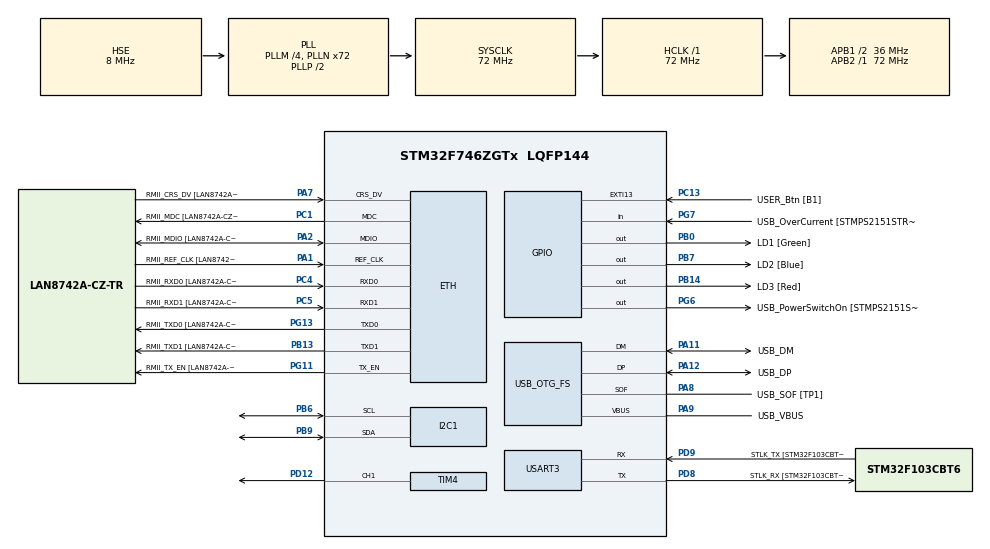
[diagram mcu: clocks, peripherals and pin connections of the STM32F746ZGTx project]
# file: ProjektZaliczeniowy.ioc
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ARM.CMSIS.5.7.0.CMSISJjCORE=true
ARM.CMSIS.5.7.0.CMSISJjDSP=Library
ETH.MediaInterface=HAL_ETH_RMII_MODE
ETH.PHY_Name=LAN8742A_PHY_ADDRESS
ETH.PHY_Value=0
ETH.PhyAddress=0
I2C1.Timing=0x00808CD2
Mcu.Family=STM32F7
Mcu.Name=STM32F746ZGTx
Mcu.Package=LQFP144
NVIC.EXTI15_10_IRQn=true\:0\:0\:false\:false\:true\:true\:true\:true
NVIC.I2C1_EV_IRQn=true\:0\:0\:false\:false\:true\:true\:true\:true
NVIC.PriorityGroup=NVIC_PRIORITYGROUP_4
NVIC.TIM3_IRQn=true\:0\:0\:false\:false\:true\:true\:true\:true
NVIC.TIM4_IRQn=true\:0\:0\:false\:false\:true\:true\:true\:true
NVIC.USART3_IRQn=true\:0\:0\:false\:false\:true\:true\:true\:true
PA1.GPIO_Label=RMII_REF_CLK [LAN8742A-CZ-TR_REFCLK0]
PA1.Mode=RMII
PA1.Signal=ETH_REF_CLK
PA10.GPIO_Label=USB_ID
PA10.Signal=USB_OTG_FS_ID
PA11.GPIO_Label=USB_DM
PA11.Mode=Device_Only
PA11.Signal=USB_OTG_FS_DM
PA12.GPIO_Label=USB_DP
PA12.Mode=Device_Only
PA12.Signal=USB_OTG_FS_DP
PA13.GPIO_Label=TMS
PA13.Mode=Serial_Wire
PA13.Signal=SYS_JTMS-SWDIO
PA14.GPIO_Label=TCK
PA14.Mode=Serial_Wire
PA14.Signal=SYS_JTCK-SWCLK
PA2.GPIO_Label=RMII_MDIO [LAN8742A-CZ-TR_MDIO]
PA2.Mode=RMII
PA2.Signal=ETH_MDIO
PA7.GPIO_Label=RMII_CRS_DV [LAN8742A-CZ-TR_CRS_DV]
PA7.Mode=RMII
PA7.Signal=ETH_CRS_DV
PA8.GPIO_Label=USB_SOF [TP1]
PA8.Mode=Activate_SOF_FS
PA8.Signal=USB_OTG_FS_SOF
PA9.GPIO_Label=USB_VBUS
PA9.Mode=Activate_VBUS
PA9.Signal=USB_OTG_FS_VBUS
PB0.GPIO_Label=LD1 [Green]
PB0.Signal=GPIO_Output
PB13.GPIO_Label=RMII_TXD1 [LAN8742A-CZ-TR_TXD1]
PB13.Mode=RMII
PB13.Signal=ETH_TXD1
PB14.GPIO_Label=LD3 [Red]
PB14.Signal=GPIO_Output
PB3.GPIO_Label=SW0
PB3.Signal=SYS_JTDO-SWO
PB6.Mode=I2C
PB6.Signal=I2C1_SCL
PB7.GPIO_Label=LD2 [Blue]
PB7.Signal=GPIO_Output
PB9.Mode=I2C
PB9.Signal=I2C1_SDA
PC1.GPIO_Label=RMII_MDC [LAN8742A-CZ-TR_MDC]
PC1.Mode=RMII
PC1.Signal=ETH_MDC
PC13.GPIO_Label=USER_Btn [B1]
PC13.Signal=GPXTI13
PC14/OSC32_IN.Mode=LSE-External-Oscillator
PC14/OSC32_IN.Signal=RCC_OSC32_IN
PC15/OSC32_OUT.Mode=LSE-External-Oscillator
PC15/OSC32_OUT.Signal=RCC_OSC32_OUT
PC4.GPIO_Label=RMII_RXD0 [LAN8742A-CZ-TR_RXD0]
PC4.Mode=RMII
PC4.Signal=ETH_RXD0
PC5.GPIO_Label=RMII_RXD1 [LAN8742A-CZ-TR_RXD1]
PC5.Mode=RMII
PC5.Signal=ETH_RXD1
PD12.Signal=S_TIM4_CH1
PD8.GPIO_Label=STLK_RX [STM32F103CBT6_PA3]
PD8.Mode=Asynchronous
PD8.Signal=USART3_TX
PD9.GPIO_Label=STLK_TX [STM32F103CBT6_PA2]
PD9.Mode=Asynchronous
PD9.Signal=USART3_RX
PG11.GPIO_Label=RMII_TX_EN [LAN8742A-CZ-TR_TXEN]
PG11.Mode=RMII
PG11.Signal=ETH_TX_EN
PG13.GPIO_Label=RMII_TXD0 [LAN8742A-CZ-TR_TXD0]
PG13.Mode=RMII
PG13.Signal=ETH_TXD0
PG6.GPIO_Label=USB_PowerSwitchOn [STMPS2151STR_EN]
PG6.Signal=GPIO_Output
PG7.GPIO_Label=USB_OverCurrent [STMPS2151STR_FAULT]
PG7.Signal=GPIO_Input
PH0/OSC_IN.GPIO_Label=MCO [STM32F103CBT6_PA8]
PH0/OSC_IN.Mode=HSE-External-Clock-Source
PH0/OSC_IN.Signal=RCC_OSC_IN
PH1/OSC_OUT.Mode=HSE-External-Clock-Source
PH1/OSC_OUT.Signal=RCC_OSC_OUT
ProjectManager.HeapSize=0x200
ProjectManager.StackSize=0x400
ProjectManager.TargetToolchain=STM32CubeIDE
RCC.48MHZClocksFreq_Value=24000000
RCC.AHBFreq_Value=72000000
RCC.APB1CLKDivider=RCC_HCLK_DIV2
RCC.APB1Freq_Value=36000000
RCC.APB1TimFreq_Value=72000000
RCC.APB2Freq_Value=72000000
RCC.APB2TimFreq_Value=72000000
RCC.CortexFreq_Value=72000000
RCC.HCLKFreq_Value=72000000
RCC.HSE_VALUE=8000000
RCC.HSI_VALUE=16000000
RCC.PLLM=4
RCC.PLLMUL=RCC_PLL_MUL9
RCC.PLLN=72
RCC.PLLQ=3
RCC.PRESCALERUSB=RCC_USBCLKSOURCE_PLL_DIV1_5
RCC.SYSCLKFreq_VALUE=72000000
RCC.SYSCLKSource=RCC_SYSCLKSOURCE_PLLCLK
RCC.SYSCLKSourceVirtual=RCC_SYSCLKSOURCE_PLLCLK
RCC.USBFreq_Value=48000000
RCC.VCOOutputFreq_Value=144000000
SH.S_TIM4_CH1.0=TIM4_CH1,PWM Generation1 CH1
TIM3.Period=24999
TIM3.Prescaler=71
TIM4.Channel-PWM\ Generation1\ CH1=TIM_CHANNEL_1
TIM4.Period=999
TIM4.Prescaler=71
TIM4.Pulse-PWM\ Generation1\ CH1=999
USART3.VirtualMode-Asynchronous=VM_ASYNC
USB_OTG_FS.VirtualMode=Device_Only
VP_ARM.CMSIS_VS_CMSISJjCORE_5.4.0_5.7.0.Mode=CMSISJjCORE
VP_ARM.CMSIS_VS_CMSISJjDSP_1.8.0_5.7.0.Mode=CMSISJjDSP
VP_TIM3_VS_ClockSourceINT.Mode=Internal
VP_TIM4_VS_ClockSourceINT.Mode=Internal
board=NUCLEO-F746ZG

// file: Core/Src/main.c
/* USER CODE BEGIN Header */
/**
  ******************************************************************************
  * @file           : main.c
  * @brief          : Main program body
  ******************************************************************************
  * @attention
  *
  * Copyright (c) 2023 STMicroelectronics.
  * All rights reserved.
  *
  * This software is licensed under terms that can be found in the LICENSE file
  * in the root directory of this software component.
  * If no LICENSE file comes with this software, it is provided AS-IS.
  *
  ******************************************************************************
  */
/* USER CODE END Header */
#include "main.h"
#include "eth.h"
#include "i2c.h"
#include "tim.h"
#include "usart.h"
#include "usb_otg.h"
#include "gpio.h"

/* USER CODE BEGIN Includes */
#include <stdio.h>
#include "bh_1750_config.h"
#include "arm_math.h"
/* USER CODE END Includes */

/* USER CODE BEGIN PV */
char msg[50];
char Rx_Data[4];
/* USER CODE END PV */

void SystemClock_Config(void);

/* USER CODE BEGIN 0 */
float light=0;//y
float error=0;//e
float reference = 200;//yr
float duty=0;//u
arm_pid_instance_f32 PID;//pid
void HAL_TIM_PeriodElapsedCallback(TIM_HandleTypeDef *htim)
{
	  if(htim == &htim3) //Timer probkowania
	  {
		    light = BH1750_ReadIlluminance_lux(&hbh1750_1);//odczyt natezenia swiatla

		    error = reference - light;//oblizcenie uchybu

		  	duty = arm_pid_f32(&PID, error);//obliczenie sygnalu z regulatora
		  	//nasycenie
			if(duty>1000)
				duty=1000;
			if(duty<0)
				duty=0;
			__HAL_TIM_SET_COMPARE(&htim4,TIM_CHANNEL_1,duty);//ustawienie wypelnienia sygnalu PWM
	  }
}
void HAL_UART_RxCpltCallback (UART_HandleTypeDef * huart){
	if (huart == &huart3)
	  {
		reference=atol(Rx_Data);
	  }
	HAL_UART_Receive_IT(&huart3, Rx_Data ,4);
	}
/* USER CODE END 0 */

int main(void)
{

  /* MCU Configuration--------------------------------------------------------*/

  /* Reset of all peripherals, Initializes the Flash interface and the Systick. */
  HAL_Init();

  /* Configure the system clock */
  SystemClock_Config();

  /* Initialize all configured peripherals */
  MX_GPIO_Init();
  MX_ETH_Init();
  MX_USART3_UART_Init();
  MX_USB_OTG_FS_PCD_Init();
  MX_I2C1_Init();
  MX_TIM3_Init();
  MX_TIM4_Init();
  /* USER CODE BEGIN 2 */
  BH1750_Init(&hbh1750_1);//czujnik swiatla
  //inicjacja PID
  PID.Kp=5;
  PID.Ki=5;
  PID.Kd=5;
  arm_pid_init_f32(&PID, 1);//1-reset state, 0-no change in state

  HAL_TIM_Base_Start_IT(&htim3);//probkowanie
  HAL_TIM_Base_Start_IT(&htim4);//pwm
  HAL_TIM_PWM_Start(&htim4, TIM_CHANNEL_1);

  HAL_UART_Receive_IT(&huart3, Rx_Data ,4);
  /* USER CODE END 2 */

  /* Infinite loop */
  while (1)
  {

  }
}

void SystemClock_Config(void)
{
  RCC_OscInitTypeDef RCC_OscInitStruct = {0};
  RCC_ClkInitTypeDef RCC_ClkInitStruct = {0};

  /** Configure LSE Drive Capability
  */
  HAL_PWR_EnableBkUpAccess();

  /** Configure the main internal regulator output voltage
  */
  __HAL_RCC_PWR_CLK_ENABLE();
  __HAL_PWR_VOLTAGESCALING_CONFIG(PWR_REGULATOR_VOLTAGE_SCALE3);

  /** Initializes the RCC Oscillators according to the specified parameters
  * in the RCC_OscInitTypeDef structure.
  */
  RCC_OscInitStruct.OscillatorType = RCC_OSCILLATORTYPE_HSE;
  RCC_OscInitStruct.HSEState = RCC_HSE_BYPASS;
  RCC_OscInitStruct.PLL.PLLState = RCC_PLL_ON;
  RCC_OscInitStruct.PLL.PLLSource = RCC_PLLSOURCE_HSE;
  RCC_OscInitStruct.PLL.PLLM = 4;
  RCC_OscInitStruct.PLL.PLLN = 72;
  RCC_OscInitStruct.PLL.PLLP = RCC_PLLP_DIV2;
  RCC_OscInitStruct.PLL.PLLQ = 3;
  if (HAL_RCC_OscConfig(&RCC_OscInitStruct) != HAL_OK)
  {
    Error_Handler();
  }

  /** Initializes the CPU, AHB and APB buses clocks
  */
  RCC_ClkInitStruct.ClockType = RCC_CLOCKTYPE_HCLK|RCC_CLOCKTYPE_SYSCLK
                              |RCC_CLOCKTYPE_PCLK1|RCC_CLOCKTYPE_PCLK2;
  RCC_ClkInitStruct.SYSCLKSource = RCC_SYSCLKSOURCE_PLLCLK;
  RCC_ClkInitStruct.AHBCLKDivider = RCC_SYSCLK_DIV1;
  RCC_ClkInitStruct.APB1CLKDivider = RCC_HCLK_DIV2;
  RCC_ClkInitStruct.APB2CLKDivider = RCC_HCLK_DIV1;

  if (HAL_RCC_ClockConfig(&RCC_ClkInitStruct, FLASH_LATENCY_2) != HAL_OK)
  {
    Error_Handler();
  }
}

/* USER CODE BEGIN 4 */
void HAL_GPIO_EXTI_Callback(uint16_t GPIO_Pin)
{
      if(GPIO_Pin==USER_Btn_Pin)
      {
    	  int len =  sprintf(msg, "light =  %d lux, error = %d lux, reference = %d lux, duty = %d %%", (int)light, (int)error, (int)reference, (int)(duty)/10);
          HAL_UART_Transmit(&huart3,msg,len,10);
      }

}
/* USER CODE END 4 */

void Error_Handler(void)
{
  __disable_irq();
  while (1)
  {
  }
}
